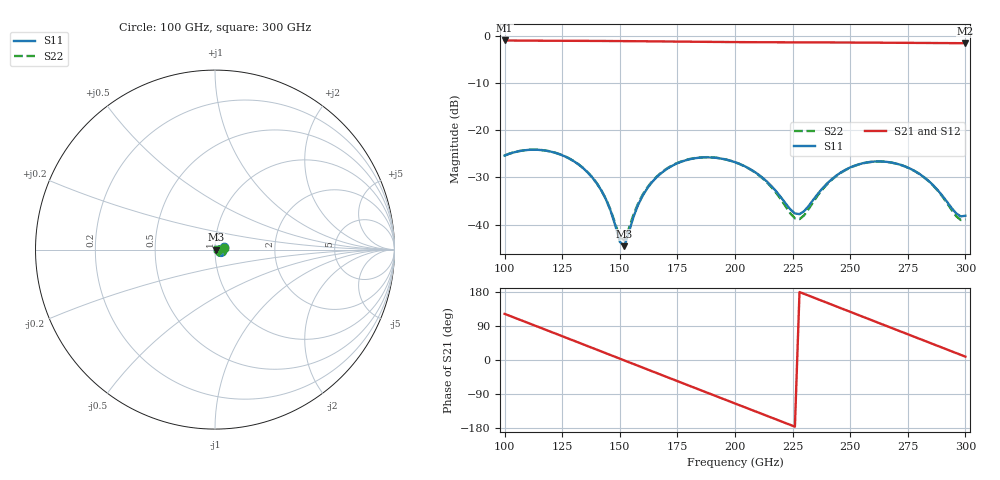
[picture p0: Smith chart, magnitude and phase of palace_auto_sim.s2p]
#  GHZ S DB R 50
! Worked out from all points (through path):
!   101 points, 100 GHz to 300 GHz, reference 50 ohm
!   highest |S21| = -0.95 dB at 100 GHz (marker M1); lowest = -1.5 dB at 300 GHz (marker M2)
!   group delay of S21, straight-line fit = 6.57 ps
!   lowest |S11| = -44.6 dB at 152 GHz (marker M3), VSWR 1.01, Z = 50.6 + j0.00831 ohm
!   |S11| at or under -10 dB: start of sweep to end of sweep
!   |S22| runs from -43.3 to -24.1 dB; largest |S21 - S12| = 1e-13
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100  -25.37 12.9  -0.95 121.7  -0.95 121.7  -25.34 12.5
116  -24.20 -19.8  -1.00 84.1  -1.00 84.1  -24.19 -20.1
124  -25.11 -36.4  -1.02 65.2  -1.02 65.2  -25.09 -36.6
134  -27.99 -56.1  -1.04 41.5  -1.04 41.5  -27.98 -55.9
142  -32.78 -67.5  -1.06 22.6  -1.06 22.6  -32.74 -66.4
146  -37.05 -66.8  -1.07 13.1  -1.07 13.1  -36.90 -64.4
150  -43.65 -39.3  -1.08 3.6  -1.08 3.6  -42.75 -35.6
152  -44.59 0.8  -1.09 -1.2  -1.09 -1.2  -43.32 -0.7
160  -33.81 42.5  -1.12 -20.2  -1.12 -20.2  -33.60 39.1
168  -29.08 32.5  -1.16 -39.1  -1.16 -39.1  -28.98 29.8
184  -25.84 3.2  -1.23 -77.0  -1.23 -77.0  -25.79 0.7
200  -26.77 -24.7  -1.29 -114.7  -1.29 -114.7  -26.78 -27.8
214  -30.94 -41.1  -1.33 -147.7  -1.33 -147.7  -31.12 -45.3
226  -37.63 -14.5  -1.35 -176.0  -1.35 -176.0  -38.68 -17.2
230  -37.17 11.6  -1.35 174.6  -1.35 174.6  -38.04 13.1
234  -34.73 26.6  -1.36 165.1  -1.36 165.1  -35.17 28.8
242  -30.37 28.9  -1.37 146.1  -1.37 146.1  -30.50 29.9
252  -27.49 15.5  -1.40 122.4  -1.40 122.4  -27.54 15.5
268  -26.86 -12.8  -1.44 84.5  -1.44 84.5  -26.87 -13.8
282  -29.93 -34.0  -1.48 51.4  -1.48 51.4  -29.97 -36.1
296  -37.62 -18.1  -1.52 18.3  -1.52 18.3  -38.22 -21.7
300  -38.14 8.0  -1.53 8.9  -1.53 8.9  -38.95 7.3
